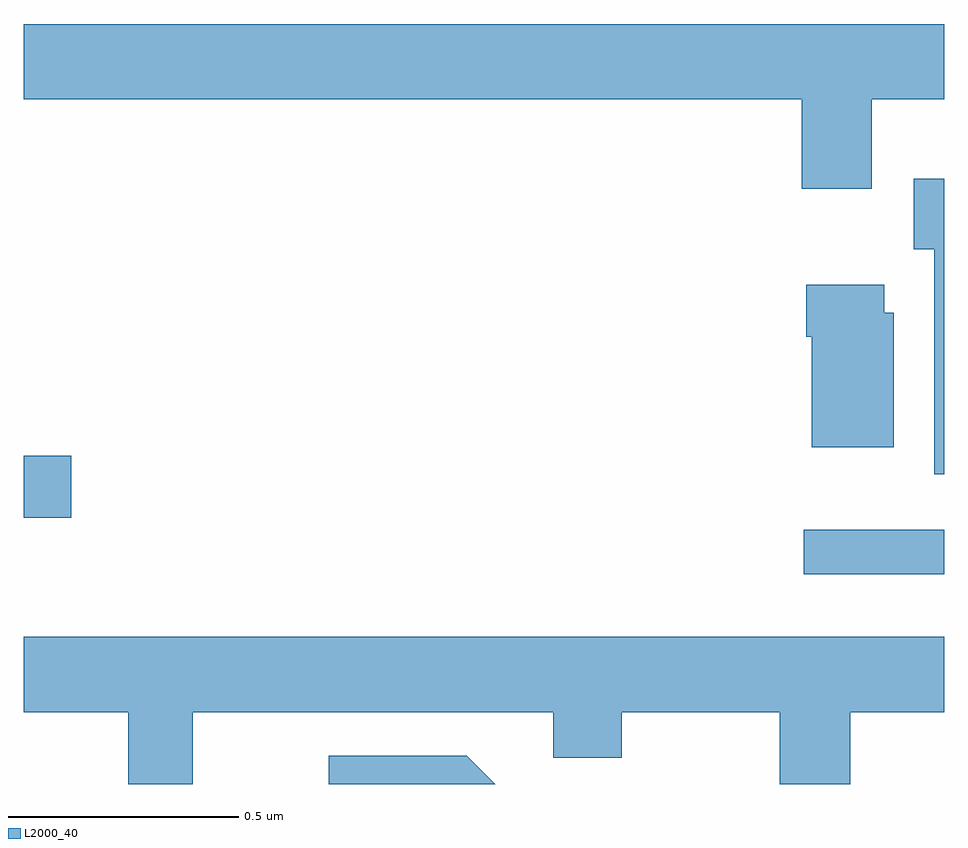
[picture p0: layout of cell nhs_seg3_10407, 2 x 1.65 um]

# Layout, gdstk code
import gdstk
lib = gdstk.Library(unit=1e-6, precision=1e-09)
def R(c, l, rs):  # rectangles x0, y0, x1, y1
    for r in rs: c.add(gdstk.rectangle(r[:2], r[2:], *l))
def P(c, l, *ps):  # polygons
    for p in ps: c.add(gdstk.Polygon(p, *l))
L2000_40 = (2000, 40)

nhs_seg3_10407 = lib.new_cell('nhs_seg3_10407')
R(nhs_seg3_10407, L2000_40, [(241.695,727.856,242,727.953), (240,727.979,240.103,728.114)])
P(nhs_seg3_10407, L2000_40, [(241.843,728.888),(242,728.888),(242,729.052),(240,729.052),(240,728.888),(241.691,728.888),(241.691,728.694),(241.843,728.694)],
  [(242,728.716),(241.934,728.716),(241.934,728.562),(241.979,728.562),(241.979,728.073),(242,728.073)],
  [(241.891,728.424),(241.87,728.424),(241.87,728.485),(241.7,728.485),(241.7,728.372),(241.712,728.372),(241.712,728.132),(241.891,728.132)],
  [(240.367,727.556),(241.151,727.556),(241.151,727.457),(241.299,727.457),(241.299,727.556),(241.643,727.556),(241.643,727.4),(241.796,727.4),(241.796,727.556),(242,727.556),(242,727.72),(240,727.72),(240,727.556),(240.227,727.556),(240.227,727.4),(240.367,727.4)],
  [(240.963,727.461),(240.663,727.461),(240.663,727.4),(241.024,727.4)])

lib.write_gds('nhs_seg3_10407.gds')
